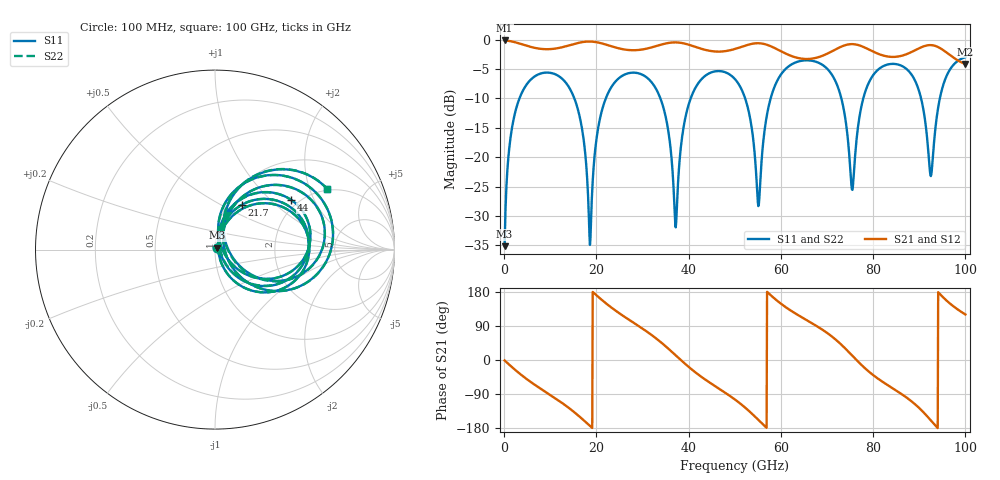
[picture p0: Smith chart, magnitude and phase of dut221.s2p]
! Touchstone file exported from HFSS 2026.1.0
!  File:  C:/ffzhzh/LocalFiles/Ansys_Project_Files/temp_train_TSV_RDL_221_1783663030_26216.aedt
!  Generated:  02:06:45 PM Jul 10, 2026
!  Design:  TSV_RDL
!  Project:  temp_train_TSV_RDL_221_1783663030_26216
! Variables:
!  h_bsmrdl = 4.02um
!  h_ox = 20um
!  h_rdl = 5um
!  h_sub = 96.93um
!  h_tmrdl = 2.65um
!  h_tsv = 96.93um
!  h_via = 3um
!  l_bsmrdl = 323.63um
!  l_sub = 2944.31um
!  l_tmrdl = 356.92um
!  m_sub = 200um
!  pitch = 59.09um
!  r_tsv = 9.69um
!  s_tmrdl = 10um
!  w_bsmrdl = 24.32um
!  w_sub = 500um
!  w_tmrdl = 24.26um
!  x_tsv_center1 = 369.05um
!  x_tsv_center2 = 717um
!  x_tsv_center3 = 1098.18um
!  x_tsv_center4 = 1446.13um
!  x_tsv_center5 = 1827.31um
!  x_tsv_center6 = 2175.26um
# GHz S MA R 50.000000
! Terminal data exported
! Port[1] = TM_RDL1_1_T1
! Port[2] = TM_RDL5_1_T1
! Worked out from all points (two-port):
!   1000 points, 100 MHz to 100 GHz, reference 50 ohm
!   highest |S21| = -0.11 dB at 100 MHz (marker M1); lowest = -4.1 dB at 100 GHz (marker M2)
!   |S21| within 3 dB of the highest: start of sweep to 63.78 GHz; 67.41 GHz to 97.56 GHz (30.15 GHz wide, 36.6 % of centre)
!   lowest |S11| = -35.2 dB at 100 MHz (marker M3), VSWR 1.04, Z = 51.3 + j1.17 ohm
!   |S11| at or under -10 dB: 15.23 GHz to 22.03 GHz (6.805 GHz wide, 36.5 % of centre); 33.88 GHz to 40.43 GHz (6.551 GHz wide, 17.6 % of centre); 52.26 GHz to 57.77 GHz (5.516 GHz wide, 10 % of centre) (the widest 3 of 6)
!   |S22| runs from -35.2 to -3.0 dB; largest |S21 - S12| = 2.8e-14
!   S11 on the Smith chart (normalised r, x): 100 MHz: 1.03, +0.02; 21.7 GHz: 1.17, +0.64; 44 GHz: 1.81, +1.36; 100 GHz: 1.95, +2.66
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0.1  0.01746 40.5  0.9869 -1.2  0.9869 -1.2  0.01746 40.5
! Gamma 0 0 0 0
! Port Impedance 50 0 50 0
1.7  0.1776 65.6  0.9667 -18.8  0.9667 -18.8  0.1776 65.6
5.2  0.4325 34.5  0.8824 -53.1  0.8824 -53.1  0.4325 34.5
16.8  0.1827 -60.5  0.9533 -154.2  0.9533 -154.2  0.1827 -60.5
18.6  0.0179 -0.2  0.966 -173.8  0.966 -173.8  0.01786 -0.3
21.7  0.291 59.1  0.9192 153.3  0.9192 153.3  0.2909 59.1
33.4  0.3512 -35.3  0.8945 52.6  0.8945 52.6  0.3512 -35.0
37.2  0.02529 14.7  0.9501 12.2  0.9501 12.2  0.02767 14.9
39.6  0.2457 69.8  0.918 -14.0  0.918 -14.0  0.2462 69.3
44  0.5062 33.3  0.8137 -55.0  0.8137 -55.0  0.5065 33.1
50.1  0.4595 -13.2  0.8368 -104.8  0.8368 -104.8  0.4596 -13.2
55.1  0.03831 14.7  0.9347 -157.8  0.9347 -157.8  0.03907 14.8
58.7  0.4055 66.1  0.8485 161.3  0.8485 161.3  0.4057 65.9
66.7  0.6632 7.4  0.6908 97.3  0.6908 97.3  0.6633 7.3
72.5  0.3815 -36.7  0.8528 47.2  0.8528 47.2  0.3816 -36.9
75.5  0.05267 16.7  0.9187 11.1  0.9187 11.1  0.05256 16.4
78.3  0.3621 60.3  0.8547 -22.5  0.8547 -22.5  0.362 60.2
83.4  0.619 20.7  0.7181 -68.3  0.7181 -68.3  0.6189 20.6
89.4  0.4211 -24.0  0.8259 -120.1  0.8259 -120.1  0.4206 -24.4
92.5  0.06902 18.9  0.901 -159.2  0.901 -159.2  0.0658 19.0
95.3  0.4246 64.9  0.8111 163.9  0.8111 163.9  0.4244 65.2
100  0.711 28.3  0.6223 120.1  0.6223 120.1  0.7112 28.4
